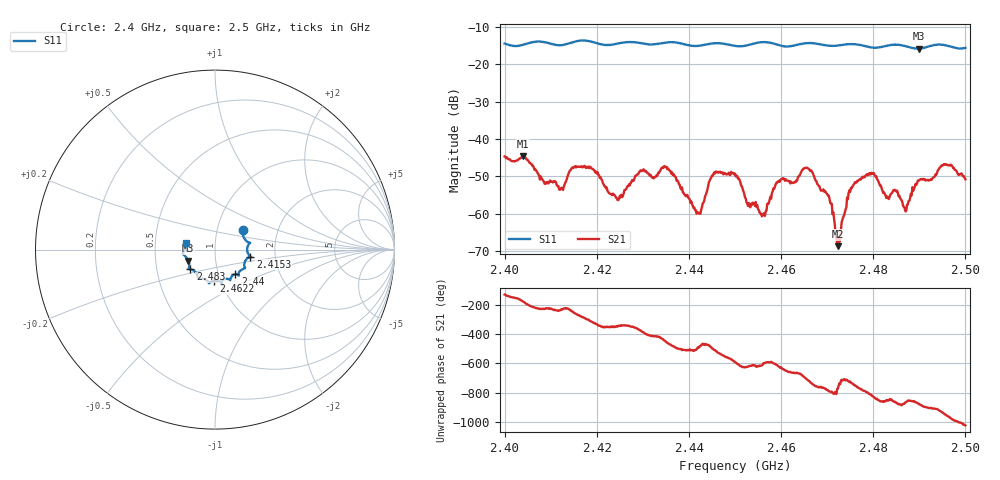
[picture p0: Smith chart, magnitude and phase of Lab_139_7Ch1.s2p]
# Hz S RI R 50
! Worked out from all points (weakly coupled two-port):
!   601 points, 2.4 GHz to 2.5 GHz, reference 50 ohm
!   highest |S21| = -44.55 dB at 2.404 GHz (marker M1); lowest = -68.6 dB at 2.4723 GHz (marker M2)
!   lowest |S11| = -15.9 dB at 2.4898 GHz (marker M3), VSWR 1.38, Z = 36.8 - j4.62 ohm
!   |S11| at or under -10 dB: start of sweep to end of sweep
!   S12 and S22 are empty: the file has one direction only
!   S11 on the Smith chart (normalised r, x): 2.4 GHz: 1.33, +0.29; 2.4153 GHz: 1.48, -0.12; 2.44 GHz: 1.20, -0.34; 2.4622 GHz: 0.93, -0.33; 2.483 GHz: 0.74, -0.17; 2.5 GHz: 0.72, +0.06
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2.4e9  0.1549 0.1064  -0.00374 -0.0045  0 0  0 0
2.404e9  0.1745 0.0481  -0.00592 -0.000259  0 0  0 0
2.412167e9  0.1786 -0.00281  -0.00126 0.00175  0 0  0 0
2.415333e9  0.1964 -0.0385  -0.000812 0.00426  0 0  0 0
2.416667e9  0.2021 -0.0426  0.000806 0.00425  0 0  0 0
2.424667e9  0.164 -0.0933  0.00148 0.000383  0 0  0 0
2.433333e9  0.1311 -0.1337  0.00193 -0.00297  0 0  0 0
2.44e9  0.1139 -0.1368  -0.00141 -0.000798  0 0  0 0
2.442167e9  0.0944 -0.148  -0.000668 -0.000757  0 0  0 0
2.445333e9  0.0845 -0.1695  -0.0028 -0.002  0 0  0 0
2.45e9  0.0644 -0.1627  -0.00217 0.00267  0 0  0 0
2.456e9  0.0381 -0.1928  -0.000354 0.000915  0 0  0 0
2.462167e9  -0.00721 -0.1736  0.00141 0.0023  0 0  0 0
2.466667e9  -0.034 -0.1877  0.00357 -0.000994  0 0  0 0
2.4705e9  -0.0526 -0.1676  0.000527 -0.00152  0 0  0 0
2.472333e9  -0.0731 -0.161  0.000233 -0.000288  0 0  0 0
2.476333e9  -0.095 -0.1569  0.00215 -0.00149  0 0  0 0
2.483e9  -0.1375 -0.1097  -0.00115 -0.00126  0 0  0 0
2.483333e9  -0.14 -0.1095  -0.00108 -0.00115  0 0  0 0
2.487e9  -0.1436 -0.0972  -0.000898 -0.000592  0 0  0 0
2.489833e9  -0.1488 -0.0611  -0.00251 -0.00123  0 0  0 0
2.5e9  -0.1596 0.0395  0.00158 0.00242  0 0  0 0
